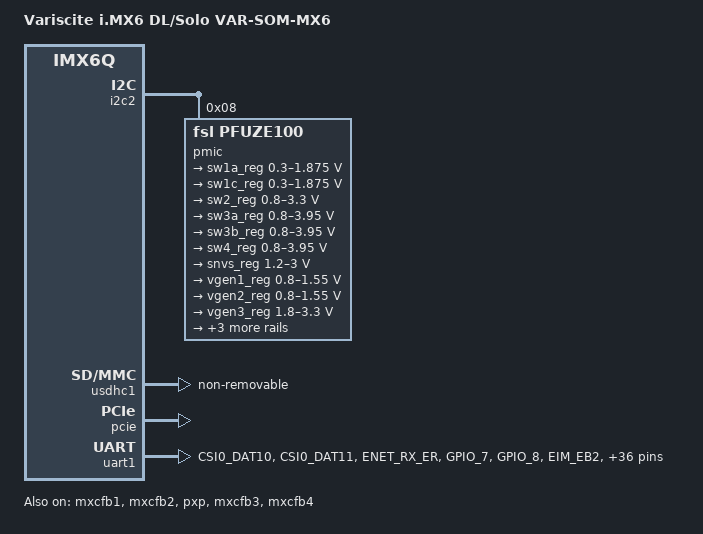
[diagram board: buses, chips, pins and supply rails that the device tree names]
/*
 * Copyright (C) 2014 Variscite, Ltd. All Rights Reserved
 * Donio Ron: ron.d@variscite.com
 * 
 * Copyright (C) 2013 Freescale Semiconductor, Inc.
 *
 * This program is free software; you can redistribute it and/or modify
 * it under the terms of the GNU General Public License version 2 as
 * published by the Free Software Foundation.
 */

/dts-v1/;

#define VAR_SOM_MX6

#include "imx6dl.dtsi"
#include "imx6qdl-var-som.dtsi"

/ {
	model = "Variscite i.MX6 DL/Solo VAR-SOM-MX6";
	compatible = "fsl,imx6q-var-som", "fsl,imx6q";
};

&i2c2 {
	pmic: pfuze100@08 {
		compatible = "fsl,pfuze100";
		reg = <0x08>;

		regulators {
			sw1a_reg: sw1ab {
				regulator-min-microvolt = <300000>;
				regulator-max-microvolt = <1875000>;
				regulator-boot-on;
				regulator-always-on;
				regulator-ramp-delay = <6250>;
			};

			sw1c_reg: sw1c {
				regulator-min-microvolt = <300000>;
				regulator-max-microvolt = <1875000>;
				regulator-boot-on;
				regulator-always-on;
				regulator-ramp-delay = <6250>;
			};

			sw2_reg: sw2 {
				regulator-min-microvolt = <800000>;
				regulator-max-microvolt = <3300000>;
				regulator-boot-on;
				regulator-always-on;
			};

			sw3a_reg: sw3a {
				regulator-min-microvolt = <800000>;
				regulator-max-microvolt = <3950000>;
				regulator-boot-on;
				regulator-always-on;
			};

			sw3b_reg: sw3b {
				regulator-min-microvolt = <800000>;
				regulator-max-microvolt = <3950000>;
				regulator-boot-on;
				regulator-always-on;
			};

			sw4_reg: sw4 {
				regulator-min-microvolt = <800000>;
				regulator-max-microvolt = <3950000>;
			};

			snvs_reg: vsnvs {
				regulator-min-microvolt = <1200000>;
				regulator-max-microvolt = <3000000>;
				regulator-boot-on;
				regulator-always-on;
			};

			vref_reg: vrefddr {
				regulator-boot-on;
				regulator-always-on;
			};

			vgen1_reg: vgen1 {
				regulator-min-microvolt = <800000>;
				regulator-max-microvolt = <1550000>;
			};

			vgen2_reg: vgen2 {
				regulator-min-microvolt = <800000>;
				regulator-max-microvolt = <1550000>;
			};

			vgen3_reg: vgen3 {
				regulator-min-microvolt = <1800000>;
				regulator-max-microvolt = <3300000>;
				regulator-always-on;
				regulator-boot-on;
			};

			vgen4_reg: vgen4 {
				regulator-min-microvolt = <1800000>;
				regulator-max-microvolt = <3300000>;
				regulator-always-on;
				regulator-boot-on;
			};

			vgen5_reg: vgen5 {
				regulator-min-microvolt = <1800000>;
				regulator-max-microvolt = <3300000>;
				regulator-always-on;
				regulator-boot-on;
			};

			vgen6_reg: vgen6 {
				regulator-min-microvolt = <2800000>;
				regulator-max-microvolt = <2800000>;
				regulator-always-on;
				regulator-boot-on;
			};
		};
	};
};

&ldb {
	lvds-channel@0 {
		crtc = "ipu1-di0";
	};

	lvds-channel@1 {
		crtc = "ipu1-di1";
	};
};

&mxcfb1 {
	status = "okay";
};

&mxcfb2 {
	status = "okay";
};

&pxp {
    status = "okay";
};


#if 0
//Disabled by default
&gpio_keys {
	status = "disabled";
};
#endif

&mxcfb3 {
	status = "okay";
};

&mxcfb4 {
	status = "okay";
};

/*
&sata {
	status = "okay";
};
*/

&sound_hdmi {
	status = "disabled";
};

&hdmi_audio {
	status = "disabled";
};

&hdmi_core  {
	status = "disabled";
};

&hdmi_video {
	status = "disabled";
};


&hdmi {
	status = "disabled";
};

&i2c1 {
	status = "disabled";
};

&i2c3 {
	status = "disabled";
};

&uart3 {
	status = "disabled";
};

&flexcan1 {
	status = "disabled";
};

&usdhc1 {	/* uSDHC2, MMC/SD card */
	pinctrl-names = "default";
	//pinctrl-0 = <&pinctrl_usdhc2_3>;
	pinctrl-0 = <&pinctrl_usdhc2_2>;
	cd-gpios = <>;
	wp-gpios = <>;
	non-removable;
	no-1-8-v;
	keep-power-in-suspend;
	enable-sdio-wakeup;
	status = "okay";
};

&pcie {
	reset-gpio    = <>;		/* gpio pin number of power good signal */
	wake-up-gpio  = <>;		/* gpio pin number of incoming wakeup signal */
 	disable-gpio  = <>;		/* gpio pin number of outgoing rfkill/endpoint disable signal */
	status = "okay";
};

&pwm2 {
	status = "disabled";
};

&iomuxc {
	uart2 {
		pinctrl_uart1_JIG: pinctrl_uart1_JIG-3 {
			fsl,pins = <
				MX6QDL_PAD_CSI0_DAT10__UART1_TX_DATA 0x1b0b1
				MX6QDL_PAD_CSI0_DAT11__UART1_RX_DATA 0x1b0b1
		
				/* JIG GPIOs */			
				//MX6QDL_PAD_SD1_DAT0__GPIO1_IO16	0x80000000
				//MX6QDL_PAD_SD1_DAT1__GPIO1_IO17	0x80000000
				//MX6QDL_PAD_SD1_CMD__GPIO1_IO18	0x80000000
				//MX6QDL_PAD_SD1_DAT2__GPIO1_IO19	0x80000000
				//MX6QDL_PAD_SD1_DAT3__GPIO1_IO21	0x80000000
				MX6QDL_PAD_ENET_RX_ER__GPIO1_IO24	0x80000000
				//MX6QDL_PAD_GPIO_5__GPIO1_IO05		0x80000000 - i2c3
				MX6QDL_PAD_GPIO_7__GPIO1_IO07		0x80000000
				MX6QDL_PAD_GPIO_8__GPIO1_IO08		0x80000000
				MX6QDL_PAD_EIM_EB2__GPIO2_IO30	0x80000000
				//MX6QDL_PAD_EIM_EB3__GPIO2_IO31	0x80000000
				MX6QDL_PAD_EIM_DA13__GPIO3_IO13	0x80000000
				MX6QDL_PAD_EIM_D19__GPIO3_IO19	0x80000000
				MX6QDL_PAD_EIM_D20__GPIO3_IO20	0x80000000
				MX6QDL_PAD_EIM_D21__GPIO3_IO21	0x80000000
				MX6QDL_PAD_EIM_D22__GPIO3_IO22	0x80000000
				MX6QDL_PAD_EIM_D23__GPIO3_IO23	0x80000000 //- uart3_2
				MX6QDL_PAD_EIM_D24__GPIO3_IO24	0x80000000 //- uart3_2
				MX6QDL_PAD_EIM_D25__GPIO3_IO25	0x80000000 //- pinctrl_uart3_2
				MX6QDL_PAD_EIM_D27__GPIO3_IO27	0x80000000
				//MX6QDL_PAD_EIM_D28__GPIO3_IO28	0x80000000 pinctrl_uart2_3 
				//MX6QDL_PAD_EIM_D29__GPIO3_IO29	0x80000000 //- uart1
				MX6QDL_PAD_EIM_DA7__GPIO3_IO07		0x80000000
				MX6QDL_PAD_KEY_COL2__GPIO4_IO10		0x80000000
				MX6QDL_PAD_KEY_COL4__GPIO4_IO14		0x80000000
				MX6QDL_PAD_KEY_ROW4__GPIO4_IO15		0x80000000
				MX6QDL_PAD_DISP0_DAT9__GPIO4_IO30 0x80000000
				MX6QDL_PAD_KEY_COL0__GPIO4_IO06		0x80000000
				MX6QDL_PAD_KEY_ROW0__GPIO4_IO07		0x80000000
				MX6QDL_PAD_KEY_COL1__GPIO4_IO08		0x80000000
				MX6QDL_PAD_KEY_ROW1__GPIO4_IO09		0x80000000
								
				//MX6QDL_PAD_DISP0_DAT13__GPIO5_IO07	0x80000000 // GPIO105
				
				MX6QDL_PAD_DISP0_DAT18__GPIO5_IO12	0x80000000
				MX6QDL_PAD_DISP0_DAT19__GPIO5_IO13	0x80000000
				MX6QDL_PAD_DISP0_DAT20__GPIO5_IO14	0x80000000
				MX6QDL_PAD_DISP0_DAT21__GPIO5_IO15	0x80000000
				MX6QDL_PAD_DISP0_DAT22__GPIO5_IO16	0x80000000
				MX6QDL_PAD_DISP0_DAT23__GPIO5_IO17	0x80000000
				MX6QDL_PAD_CSI0_MCLK__GPIO5_IO19	0x80000000
				MX6QDL_PAD_CSI0_VSYNC__GPIO5_IO21	0x80000000
				MX6QDL_PAD_CSI0_DAT12__GPIO5_IO30	0x80000000
				MX6QDL_PAD_CSI0_DAT13__GPIO5_IO31	0x80000000
				MX6QDL_PAD_CSI0_DAT14__GPIO6_IO00	0x80000000
				MX6QDL_PAD_CSI0_DAT15__GPIO6_IO01	0x80000000
				MX6QDL_PAD_CSI0_DAT16__GPIO6_IO02	0x80000000
				MX6QDL_PAD_CSI0_DAT17__GPIO6_IO03	0x80000000
				MX6QDL_PAD_CSI0_DAT18__GPIO6_IO04	0x80000000
				MX6QDL_PAD_GPIO_16__GPIO7_IO11		0x80000000 //- i2c3
				MX6QDL_PAD_CSI0_DAT19__GPIO6_IO05	0x80000000
				MX6QDL_PAD_CSI0_DATA_EN__GPIO5_IO20 0x80000000		
			>;
		};
	};
};

/* Console Uart */
&uart1 {
	pinctrl-names = "default";
	pinctrl-0 = <&pinctrl_uart1_JIG>;
	status = "okay";
};

